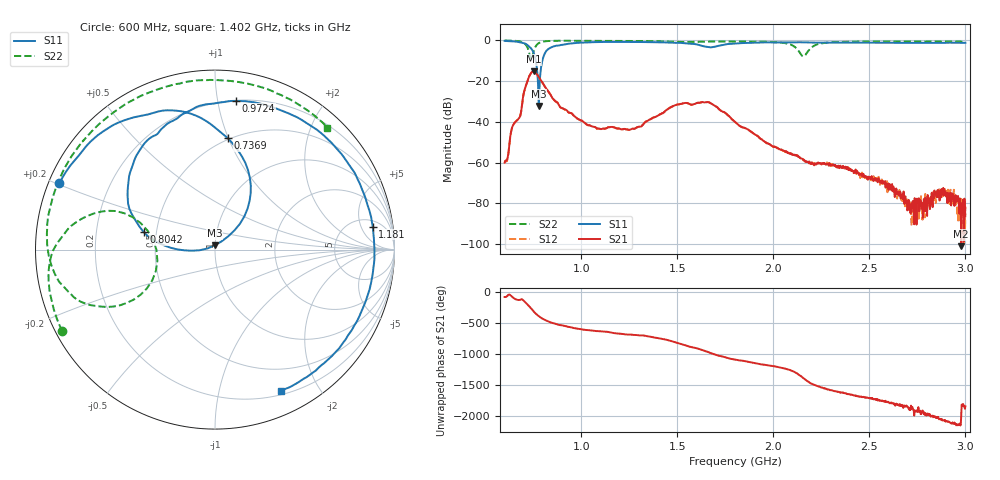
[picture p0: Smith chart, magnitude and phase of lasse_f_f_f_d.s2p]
#  HZ  S  RI  R  50.00
! Rohde & Schwarz ZVB8 2Ports - Version 2.81 - 1145.1010k08 SN: 100113
! Date: 2016-05-04 02:50:44
! Measurements: S11 S21 S12 S22
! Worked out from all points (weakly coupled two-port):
!   1000 points, 600 MHz to 3 GHz, reference 50 ohm
!   highest |S21| = -15.44 dB at 751.4 MHz (marker M1); lowest = -100.9 dB at 2.978 GHz (marker M2)
!   lowest |S11| = -32.3 dB at 777.8 MHz (marker M3), VSWR 1.05, Z = 49.9 + j2.41 ohm
!   |S11| at or under -10 dB: 761.9 MHz to 796.9 MHz (35.02 MHz wide, 4.49 % of centre)
!   |S22| runs from -9.7 to -0.3 dB; largest |S21 - S12| = 0.0039
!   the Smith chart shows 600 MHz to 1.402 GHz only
!   S11 on the Smith chart (normalised r, x): 600 MHz: 0.03, +0.20; 736.9 MHz: 0.49, +1.00; 804.2 MHz: 0.43, +0.10; 972.4 MHz: 0.21, +1.13; 1.181 GHz: 7, +8; 1.402 GHz: 0.24, -1.55
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6e8  -0.8669 0.37  0.000117 -0.000994  8.49e-05 -0.00101  -0.8522 -0.4528
6.864865e8  -0.4087 0.746  -0.00925 -0.0156  -0.0091 -0.0157  -0.8933 0.0114
7.369369e8  0.0719 0.6204  -0.0189 0.1511  -0.0163 0.1515  -0.3264 0.000385
7.513514e8  0.1838 0.4435  0.1209 0.1181  0.1187 0.1203  -0.4529 -0.2785
7.777778e8  -0.000549 0.0241  0.1049 -0.066  0.106 -0.065  -0.7866 -0.265
8.042042e8  -0.3964 0.0971  0.00815 -0.0782  0.00825 -0.0782  -0.905 -0.1047
9.723724e8  0.1176 0.8281  -0.00789 0.0097  -0.00799 0.00969  -0.7651 0.5678
1.001201e9  0.2798 0.806  -0.00467 0.0095  -0.0047 0.00948  -0.6953 0.6496
1.181381e9  0.8784 0.1281  0.00451 0.00521  0.00449 0.00523  -0.1404 0.9378
1.4e9  0.38 -0.7812  0.0127 -0.00644  0.0127 -0.00646  0.6189 0.6864
1.402402e9  0.37 -0.785  0.0127 -0.00681  0.0127 -0.00677  0.6253 0.6791
1.657057e9  -0.4808 -0.4623  -0.0118 0.0278  -0.012 0.0276  0.8889 -0.1713
1.801201e9  -0.7783 -0.2515  0.00943 -0.00242  0.00944 -0.00232  0.6363 -0.6533
2.094294e9  -0.423 0.7542  -0.00154 0.000307  -0.00164 0.000287  -0.4005 -0.6339
2.14955e9  -0.2012 0.8479  0.000533 0.00112  0.000574 0.00111  -0.2065 -0.3505
2.2e9  0.00103 0.8561  0.000752 -0.000677  0.00071 -0.000699  -0.0943 -0.6543
2.421021e9  0.76 0.3875  -0.000384 0.000479  -0.000377 0.000477  -0.7839 -0.4543
2.601201e9  0.7608 -0.3726  0.0002 7.34e-05  0.000282 0.000111  -0.9126 -0.0195
2.709309e9  0.4615 -0.7065  -2.39e-05 -7.86e-05  -3.2e-05 -8.33e-05  -0.883 0.2348
2.882282e9  -0.1668 -0.8268  7.91e-06 0.000195  2.66e-07 0.000203  -0.6977 0.5739
2.978378e9  -0.4944 -0.6882  -8.98e-06 7.55e-07  4.46e-05 -2.68e-05  -0.5354 0.7202
3e9  -0.5555 -0.6377  5.51e-05 -5.64e-05  -2.98e-05 -4.8e-05  -0.4934 0.7502
